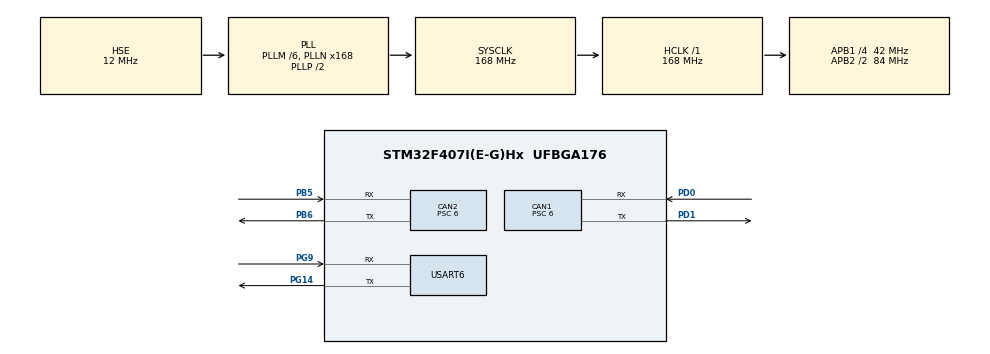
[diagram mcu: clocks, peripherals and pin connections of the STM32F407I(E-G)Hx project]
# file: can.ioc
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CAN1.BS1=CAN_BS1_10TQ
CAN1.BS2=CAN_BS2_3TQ
CAN1.CalculateTimeQuantum=71.42857142857143
CAN1.Prescaler=6
CAN2.BS1=CAN_BS1_10TQ
CAN2.BS2=CAN_BS2_3TQ
CAN2.CalculateTimeQuantum=71.42857142857143
CAN2.Prescaler=6
Dma.Request0=USART6_TX
Dma.USART6_TX.0.Direction=DMA_MEMORY_TO_PERIPH
Dma.USART6_TX.0.FIFOMode=DMA_FIFOMODE_DISABLE
Dma.USART6_TX.0.Instance=DMA2_Stream6
Dma.USART6_TX.0.MemDataAlignment=DMA_MDATAALIGN_BYTE
Dma.USART6_TX.0.MemInc=DMA_MINC_ENABLE
Dma.USART6_TX.0.Mode=DMA_NORMAL
Dma.USART6_TX.0.PeriphDataAlignment=DMA_PDATAALIGN_BYTE
Dma.USART6_TX.0.PeriphInc=DMA_PINC_DISABLE
Dma.USART6_TX.0.Priority=DMA_PRIORITY_LOW
Mcu.Family=STM32F4
Mcu.Name=STM32F407I(E-G)Hx
Mcu.Package=UFBGA176
NVIC.CAN1_RX0_IRQn=true\:0\:0\:false\:false\:true\:true\:true\:true
NVIC.CAN2_RX0_IRQn=true\:0\:0\:false\:false\:true\:true\:true\:true
NVIC.DMA2_Stream6_IRQn=true\:0\:0\:false\:false\:true\:false\:true\:true
NVIC.PriorityGroup=NVIC_PRIORITYGROUP_4
NVIC.TIM2_IRQn=true\:0\:0\:false\:false\:true\:true\:true\:true
NVIC.USART6_IRQn=true\:0\:0\:false\:false\:true\:true\:true\:true
PA13.Mode=Serial_Wire
PA13.Signal=SYS_JTMS-SWDIO
PA14.Mode=Serial_Wire
PA14.Signal=SYS_JTCK-SWCLK
PB5.Mode=Slave
PB5.Signal=CAN2_RX
PB6.Mode=Slave
PB6.Signal=CAN2_TX
PD0.Mode=Master
PD0.Signal=CAN1_RX
PD1.Mode=Master
PD1.Signal=CAN1_TX
PG14.Mode=Asynchronous
PG14.Signal=USART6_TX
PG9.Mode=Asynchronous
PG9.Signal=USART6_RX
PH0-OSC_IN.Mode=HSE-External-Oscillator
PH0-OSC_IN.Signal=RCC_OSC_IN
PH1-OSC_OUT.Mode=HSE-External-Oscillator
PH1-OSC_OUT.Signal=RCC_OSC_OUT
ProjectManager.HeapSize=0x200
ProjectManager.StackSize=0x400
ProjectManager.TargetToolchain=MDK-ARM V5
RCC.48MHZClocksFreq_Value=84000000
RCC.AHBFreq_Value=168000000
RCC.APB1CLKDivider=RCC_HCLK_DIV4
RCC.APB1Freq_Value=42000000
RCC.APB1TimFreq_Value=84000000
RCC.APB2CLKDivider=RCC_HCLK_DIV2
RCC.APB2Freq_Value=84000000
RCC.APB2TimFreq_Value=168000000
RCC.CortexFreq_Value=168000000
RCC.HCLKFreq_Value=168000000
RCC.HSE_VALUE=12000000
RCC.HSI_VALUE=16000000
RCC.LSE_VALUE=32768
RCC.PLLM=6
RCC.PLLN=168
RCC.PLLSourceVirtual=RCC_PLLSOURCE_HSE
RCC.SYSCLKFreq_VALUE=168000000
RCC.SYSCLKSource=RCC_SYSCLKSOURCE_PLLCLK
RCC.VCOOutputFreq_Value=336000000
TIM2.AutoReloadPreload=TIM_AUTORELOAD_PRELOAD_ENABLE
TIM2.Period=999
TIM2.Prescaler=83
USART6.VirtualMode=VM_ASYNC
VP_TIM2_VS_ClockSourceINT.Mode=Internal
board=custom

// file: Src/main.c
/* USER CODE BEGIN Header */
/**
  ******************************************************************************
  * @file           : main.c
  * @brief          : Main program body
  ******************************************************************************
  * @attention
  *
  * <h2><center>&copy; Copyright (c) 2019 STMicroelectronics.
  * All rights reserved.</center></h2>
  *
  * This software component is licensed by ST under BSD 3-Clause license,
  * the "License"; You may not use this file except in compliance with the
  * License. You may obtain a copy of the License at:
  *                        opensource.org/licenses/BSD-3-Clause
  *
  ******************************************************************************
  */
/* USER CODE END Header */

#include "main.h"
#include "can.h"
#include "dma.h"
#include "tim.h"
#include "usart.h"
#include "gpio.h"

/* USER CODE BEGIN Includes */
#include "bsp_can.h"
#include "tim.h"
#include "gravity_comp.h"
#include "ZDT/ZDT_X42_V2.h"
#include "arm_param.h"
#include "CRC8_CRC16.h"
#include "string.h"
#include "mit.h"
/* USER CODE END Includes */

/* USER CODE BEGIN PV */
static uint32_t last_tick = 0;

data_t data;

mit_t zdt_mit[3];

/* USER CODE END PV */

void SystemClock_Config(void);
/* USER CODE BEGIN PFP */
void Data_init(data_t *data_init);
void send_data(data_t *data_s);
/* USER CODE END PFP */

int main(void)
{

  /* MCU Configuration--------------------------------------------------------*/

  /* Reset of all peripherals, Initializes the Flash interface and the Systick. */
  HAL_Init();

  /* Configure the system clock */
  SystemClock_Config();

  /* Initialize all configured peripherals */
  MX_GPIO_Init();
  MX_DMA_Init();
  MX_CAN1_Init();
  MX_CAN2_Init();
  MX_TIM2_Init();
  MX_USART6_UART_Init();
  /* USER CODE BEGIN 2 */
  can_filter_init();
  MX_TIM2_Init();
  Data_init(&data);
  mit_init(zdt_mit, ZDT_40MM_MIT_KP, ZDT_40MM_MIT_KD);
  mit_init(zdt_mit + 1, ZDT_23MM_MIT_KP, ZDT_23MM_MIT_KD);
  mit_init(zdt_mit + 1, ZDT_23MM_MIT_KP, ZDT_23MM_MIT_KD);

  /* USER CODE END 2 */

  /* Infinite loop */
  while (1)
  {

    /* USER CODE BEGIN 3 */
    if ((HAL_GetTick() - last_tick) >= 20)
    {
      last_tick = HAL_GetTick();
      can_zdt_read_position_all();
      can_zdt_read_speed_all();

      for (uint8_t i = 0; i < 6; i++)
      {
        data.joint_angle[i] = theta[i];
        arm_param.arm_theta[i] = theta[i];
        zdt_mit[i].ref_angle = theta[i];
        arm_param.joint_speed[i + ZDT_JOINT_OFFSET] = MotorCurrents[i].dq;
        zdt_mit[i].ref_speed = MotorCurrents[i].dq;
      }

      gravity_compensation(arm_param.arm_theta, arm_param.joint_torque);

			for (uint8_t i = 0; i < ZDT_MOTOR_ONLINE; i++)
      {
        mit_calc(zdt_mit + i, zdt_angle_target[i], zdt_speed_target[i], 0.01);

        float curr = zdt_mit->torque / zdt_torque_const[i] * 1000.0f;

        if (curr > ZDT_TORQUE_MAX_MA)  curr = ZDT_TORQUE_MAX_MA;
        if (curr < -ZDT_TORQUE_MAX_MA) curr = -ZDT_TORQUE_MAX_MA;

        /* 电机 i+1 → 关节下标 i + ZDT_JOINT_OFFSET（和上面的角度/速度映射一致） */
        arm_param.joint_current[i + ZDT_JOINT_OFFSET] = curr;
        ZDT_X42_V2_Torque_Control(i + 1, (curr < 0), ZDT_TORQUE_RAMP_MA_S,
                                  (uint16_t)((curr < 0) ? -curr : curr), false);
      }

      send_data(&data);
    }
  }
  /* USER CODE END 3 */
}

void SystemClock_Config(void)
{
  RCC_OscInitTypeDef RCC_OscInitStruct = {0};
  RCC_ClkInitTypeDef RCC_ClkInitStruct = {0};

  /** Configure the main internal regulator output voltage
  */
  __HAL_RCC_PWR_CLK_ENABLE();
  __HAL_PWR_VOLTAGESCALING_CONFIG(PWR_REGULATOR_VOLTAGE_SCALE1);
  /** Initializes the CPU, AHB and APB busses clocks
  */
  RCC_OscInitStruct.OscillatorType = RCC_OSCILLATORTYPE_HSE;
  RCC_OscInitStruct.HSEState = RCC_HSE_ON;
  RCC_OscInitStruct.PLL.PLLState = RCC_PLL_ON;
  RCC_OscInitStruct.PLL.PLLSource = RCC_PLLSOURCE_HSE;
  RCC_OscInitStruct.PLL.PLLM = 6;
  RCC_OscInitStruct.PLL.PLLN = 168;
  RCC_OscInitStruct.PLL.PLLP = RCC_PLLP_DIV2;
  RCC_OscInitStruct.PLL.PLLQ = 4;
  if (HAL_RCC_OscConfig(&RCC_OscInitStruct) != HAL_OK)
  {
    Error_Handler();
  }
  /** Initializes the CPU, AHB and APB busses clocks
  */
  RCC_ClkInitStruct.ClockType = RCC_CLOCKTYPE_HCLK|RCC_CLOCKTYPE_SYSCLK
                              |RCC_CLOCKTYPE_PCLK1|RCC_CLOCKTYPE_PCLK2;
  RCC_ClkInitStruct.SYSCLKSource = RCC_SYSCLKSOURCE_PLLCLK;
  RCC_ClkInitStruct.AHBCLKDivider = RCC_SYSCLK_DIV1;
  RCC_ClkInitStruct.APB1CLKDivider = RCC_HCLK_DIV4;
  RCC_ClkInitStruct.APB2CLKDivider = RCC_HCLK_DIV2;

  if (HAL_RCC_ClockConfig(&RCC_ClkInitStruct, FLASH_LATENCY_5) != HAL_OK)
  {
    Error_Handler();
  }
}

/* USER CODE BEGIN 4 */

void Data_init(data_t *data_init)
{
	data_init->header.sof = 0xa5;
	data_init->header.data_length = 30;
	data_init->header.seq = 0;
	data_init->header.crc8 = 0;
	data_init->cmd_id = 0x0302;
}

void send_data(data_t *data_s)
{
	static unsigned char CliendTxBuffer[50];

	memcpy(CliendTxBuffer, &data_s->header, sizeof(frame_header_t));//写入帧头数据
  append_CRC8_check_sum(CliendTxBuffer,sizeof(frame_header_t)); //写入帧头校验

//	算好CliendTxBuffer的长度，以方便串口整包发送CliendTxBuffer

		memcpy(
			CliendTxBuffer + 5,
			(uint8_t*)&data_s->cmd_id,
			sizeof(data_t)-sizeof(frame_header_t)				//数据部分和cmd_id占用12字节
		  );

  append_CRC16_check_sum(CliendTxBuffer,sizeof(data_t));

	HAL_UART_Transmit_DMA(&huart6,CliendTxBuffer,sizeof(data_t));
}

/* USER CODE END 4 */

void Error_Handler(void)
{
}

/************************ (C) COPYRIGHT STMicroelectronics *****END OF FILE****/
